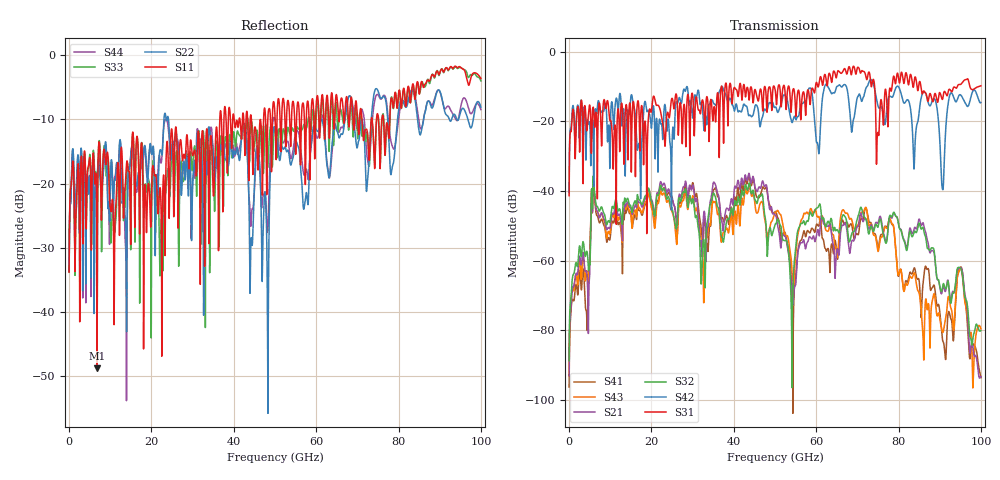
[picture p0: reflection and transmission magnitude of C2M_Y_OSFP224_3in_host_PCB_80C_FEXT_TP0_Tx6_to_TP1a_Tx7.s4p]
# GHz S RI R 45
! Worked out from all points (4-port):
!   4000 points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, 25 MHz to 100 GHz, reference 45 ohm
!   strongest paths, dB at 25 MHz, 25.02 GHz, 50.02 GHz, 75.03 GHz, 100 GHz:
!     S31: -41.3, -13.4, -10.8, -23.2, -9.8
!     S42: -40.5, -26.4, -15.9, -15.6, -14.6
!     S32: -88.7, -45.0, -49.6, -50.3, -80.1
!     S21: -93.1, -41.7, -46.9, -49.1, -93.3
!     S43: -93.0, -45.9, -46.3, -57.3, -79.6
!     S41: -96.3, -42.2, -45.9, -56.2, -93.6
!   lowest |S11| = -48.8 dB at 6.825 GHz (marker M1), VSWR 1.01, Z = 44.7 - j0.196 ohm
!   |S11| at or under -10 dB: start of sweep to 36.61 GHz; 44.28 GHz to 47.24 GHz (2.96 GHz wide, 6.47 % of centre); 71.13 GHz to 73.38 GHz (2.243 GHz wide, 3.1 % of centre)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
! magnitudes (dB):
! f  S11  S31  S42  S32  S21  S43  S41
! 25 MHz  -33.8  -41.3  -40.5  -88.7  -93.1  -93.0  -96.3
! 6.825 GHz  -48.8  -28.9  -16.7  -44.4  -45.7  -45.8  -47.1
! 43.7 GHz  -19.0  -13.8  -18.4  -37.8  -34.9  -38.6  -35.8
! 54.45 GHz  -7.3  -10.6  -19.4  -65.3  -71.8  -69.3  -78.9
! 71.92 GHz  -11.6  -6.3  -11.1  -47.7  -47.8  -44.8  -45.1
! 85.3 GHz  -5.0  -9.0  -14.5  -50.3  -49.1  -71.4  -71.0
! 100 GHz  -3.6  -9.8  -14.6  -80.1  -93.3  -79.6  -93.6
